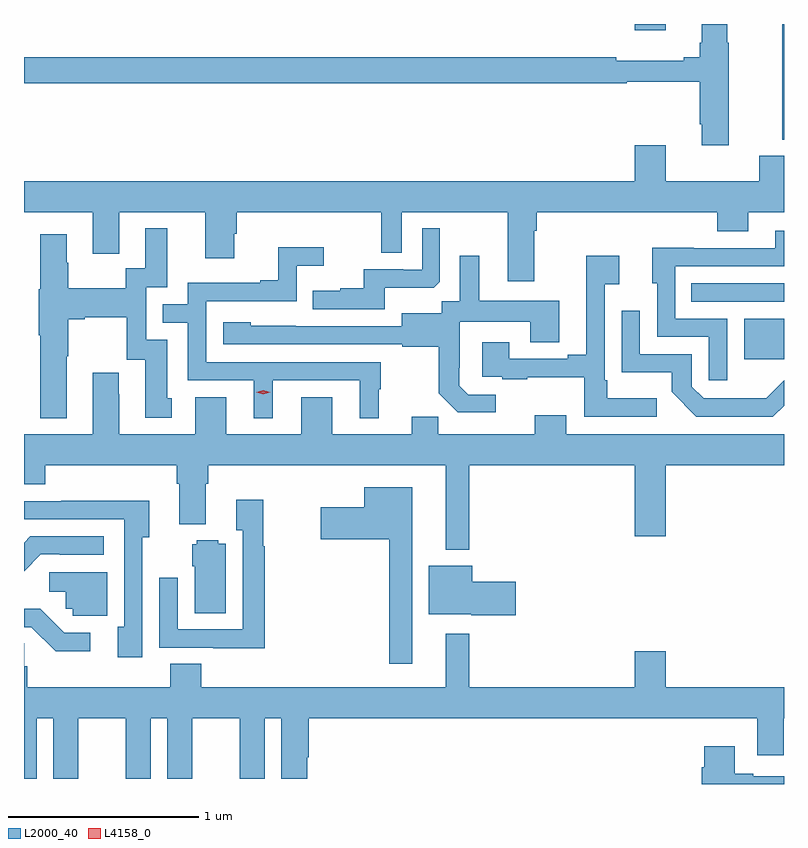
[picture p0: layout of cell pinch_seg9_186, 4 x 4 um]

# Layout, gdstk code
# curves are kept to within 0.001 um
import gdstk
lib = gdstk.Library(unit=1e-6, precision=1e-09)
def R(c, l, rs):  # rectangles x0, y0, x1, y1
    for r in rs: c.add(gdstk.rectangle(r[:2], r[2:], *l))
def P(c, l, *ps):  # polygons
    for p in ps: c.add(gdstk.Polygon(p, *l))
L2000_40 = (2000, 40)
L4158_0 = (4158, 0)

pinch_seg9_186 = lib.new_cell('pinch_seg9_186')
R(pinch_seg9_186, L2000_40, [(633.116,1231.61,633.326,1231.825), (632.839,1231.914,633.326,1232.01), (633.318,1232.766,633.326,1233.375), (632.54,1233.342,632.704,1233.375)])
P(pinch_seg9_186, L2000_40, [(633.036,1233.277),(633.028,1233.277),(633.028,1233.375),(632.894,1233.375),(632.894,1233.277),(632.882,1233.277),(632.882,1233.2),(632.798,1233.2),(632.798,1233.181),(632.444,1233.181),(632.444,1233.2),(629.326,1233.2),(629.326,1233.064),(632.498,1233.064),(632.498,1233.072),(632.882,1233.072),(632.882,1232.848),(632.894,1232.848),(632.894,1232.736),(633.036,1232.736)],
  [(632.011,1232.288),(632.024,1232.288),(632.024,1232.384),(632.975,1232.384),(632.975,1232.285),(633.139,1232.285),(633.139,1232.384),(633.326,1232.384),(633.326,1232.681),(633.196,1232.681),(633.196,1232.548),(632.704,1232.548),(632.704,1232.737),(632.54,1232.737),(632.54,1232.548),(629.326,1232.548),(629.326,1232.384),(629.687,1232.384),(629.687,1232.166),(629.827,1232.166),(629.827,1232.384),(630.281,1232.384),(630.281,1232.142),(630.433,1232.142),(630.433,1232.271),(630.446,1232.271),(630.446,1232.384),(631.206,1232.384),(631.206,1232.17),(631.314,1232.17),(631.314,1232.384),(631.871,1232.384),(631.871,1232.022),(632.011,1232.022)],
  [(631.225,1231.988),(631.483,1231.988),(631.515,1232.019),(631.515,1232.299),(631.422,1232.299),(631.422,1232.082),(631.322,1232.082),(631.322,1232.085),(631.115,1232.085),(631.115,1231.984),(630.991,1231.984),(630.991,1231.972),(630.847,1231.972),(630.847,1231.875),(631.225,1231.875)],
  [(629.551,1231.627),(629.559,1231.627),(629.559,1231.82),(629.647,1231.82),(629.647,1231.832),(629.867,1231.832),(629.867,1231.608),(629.963,1231.608),(629.963,1231.302),(630.103,1231.302),(630.103,1231.404),(630.079,1231.404),(630.079,1231.713),(629.97,1231.713),(629.97,1231.989),(630.079,1231.989),(630.079,1232.299),(629.963,1232.299),(629.963,1232.09),(629.862,1232.09),(629.862,1231.984),(629.559,1231.984),(629.559,1232.118),(629.551,1232.118),(629.551,1232.269),(629.411,1232.269),(629.411,1231.98),(629.404,1231.98),(629.404,1231.736),(629.411,1231.736),(629.411,1231.301),(629.551,1231.301)],
  [(633.027,1231.824),(632.754,1231.824),(632.754,1232.1),(633.326,1232.1),(633.326,1232.287),(633.281,1232.287),(633.281,1232.196),(632.851,1232.196),(632.851,1232.198),(632.633,1232.198),(632.633,1232.01),(632.658,1232.01),(632.658,1231.728),(632.931,1231.728),(632.931,1231.5),(633.027,1231.5)],
  [(630.634,1231.5),(631.094,1231.5),(631.094,1231.301),(631.192,1231.301),(631.192,1231.452),(631.204,1231.452),(631.204,1231.596),(630.285,1231.596),(630.285,1231.917),(630.762,1231.917),(630.762,1232.102),(630.904,1232.102),(630.904,1232.201),(630.664,1232.201),(630.664,1232.026),(630.569,1232.026),(630.569,1232.013),(630.189,1232.013),(630.189,1231.899),(630.055,1231.899),(630.055,1231.803),(630.189,1231.803),(630.189,1231.5),(630.536,1231.5),(630.536,1231.301),(630.634,1231.301)],
  [(631.81,1231.425),(631.665,1231.425),(631.618,1231.472),(631.618,1231.567),(631.62,1231.567),(631.62,1231.808),(631.991,1231.808),(631.991,1231.699),(632.143,1231.699),(632.143,1231.918),(631.723,1231.918),(631.723,1232.155),(631.619,1232.155),(631.619,1231.916),(631.524,1231.916),(631.524,1231.852),(631.313,1231.852),(631.313,1231.785),(630.519,1231.786),(630.519,1231.804),(630.375,1231.804),(630.375,1231.689),(631.317,1231.689),(631.317,1231.677),(631.509,1231.677),(631.509,1231.431),(631.609,1231.331),(631.81,1231.331)],
  [(632.656,1231.405),(632.395,1231.405),(632.395,1231.501),(632.382,1231.501),(632.382,1232.006),(632.458,1232.006),(632.458,1232.155),(632.285,1232.155),(632.285,1231.633),(632.189,1231.633),(632.189,1231.614),(631.879,1231.614),(631.879,1231.699),(631.739,1231.699),(631.739,1231.518),(631.843,1231.518),(631.843,1231.506),(631.975,1231.506),(631.975,1231.517),(632.274,1231.517),(632.274,1231.308),(632.656,1231.308)],
  [(633.326,1231.367),(633.326,1231.499),(633.233,1231.406),(633.128,1231.406),(633.128,1231.404),(632.904,1231.404),(632.841,1231.467),(632.841,1231.638),(632.568,1231.638),(632.568,1231.867),(632.472,1231.867),(632.472,1231.541),(632.734,1231.541),(632.734,1231.439),(632.864,1231.308),(633.267,1231.308)],
  [(629.824,1231.427),(629.824,1231.54),(629.687,1231.54),(629.687,1231.216),(629.326,1231.216),(629.326,1230.953),(629.438,1230.953),(629.438,1231.052),(630.131,1231.052),(630.131,1230.956),(630.143,1230.956),(630.143,1230.743),(630.283,1230.743),(630.283,1230.956),(630.296,1230.956),(630.296,1231.052),(631.547,1231.052),(631.547,1230.608),(631.669,1230.608),(631.669,1231.052),(632.54,1231.052),(632.54,1230.678),(632.704,1230.678),(632.704,1231.052),(633.326,1231.052),(633.326,1231.216),(632.179,1231.216),(632.179,1231.315),(632.015,1231.315),(632.015,1231.216),(631.505,1231.216),(631.505,1231.307),(631.367,1231.307),(631.367,1231.216),(630.949,1231.216),(630.949,1231.411),(630.785,1231.411),(630.785,1231.216),(630.391,1231.216),(630.391,1231.411),(630.227,1231.411),(630.227,1231.216),(629.827,1231.216),(629.827,1231.427)],
  [(631.369,1230.937),(631.118,1230.937),(631.118,1230.832),(630.888,1230.832),(630.888,1230.662),(631.248,1230.662),(631.248,1230.009),(631.369,1230.009)],
  [(630.593,1230.626),(630.586,1230.626),(630.586,1230.871),(630.443,1230.871),(630.443,1230.71),(630.477,1230.71),(630.477,1230.189),(630.135,1230.189),(630.135,1230.46),(630.039,1230.46),(630.039,1230.093),(630.323,1230.093),(630.323,1230.089),(630.593,1230.089)],
  [(629.949,1230.674),(629.986,1230.674),(629.986,1230.866),(629.521,1230.866),(629.521,1230.864),(629.326,1230.864),(629.326,1230.768),(629.853,1230.768),(629.853,1230.202),(629.819,1230.202),(629.819,1230.042),(629.949,1230.042)],
  [(629.415,1230.585),(629.515,1230.585),(629.515,1230.582),(629.746,1230.582),(629.746,1230.678),(629.36,1230.678),(629.326,1230.644),(629.326,1230.496)],
  [(630.388,1230.64),(630.348,1230.64),(630.348,1230.658),(630.234,1230.658),(630.234,1230.636),(630.212,1230.636),(630.212,1230.522),(630.224,1230.522),(630.224,1230.274),(630.388,1230.274)],
  [(631.915,1230.44),(631.684,1230.44),(631.684,1230.523),(631.457,1230.523),(631.457,1230.269),(631.68,1230.269),(631.68,1230.262),(631.915,1230.262)],
  [(629.764,1230.489),(629.46,1230.489),(629.46,1230.386),(629.547,1230.386),(629.547,1230.297),(629.583,1230.297),(629.583,1230.261),(629.764,1230.261)],
  [(629.674,1230.171),(629.538,1230.171),(629.411,1230.298),(629.326,1230.298),(629.326,1230.201),(629.364,1230.201),(629.492,1230.074),(629.674,1230.074)],
  [(629.326,1230.116),(629.326,1229.403),(629.392,1229.403),(629.392,1229.72),(629.48,1229.72),(629.48,1229.403),(629.611,1229.403),(629.611,1229.72),(629.861,1229.72),(629.861,1229.403),(629.992,1229.403),(629.992,1229.72),(630.08,1229.72),(630.08,1229.403),(630.211,1229.403),(630.211,1229.72),(630.461,1229.72),(630.461,1229.403),(630.592,1229.403),(630.592,1229.72),(630.68,1229.72),(630.68,1229.403),(630.817,1229.403),(630.817,1229.515),(630.824,1229.515),(630.824,1229.72),(633.185,1229.72),(633.185,1229.526),(633.325,1229.526),(633.325,1229.72),(633.326,1229.72),(633.326,1229.884),(632.704,1229.884),(632.704,1230.073),(632.54,1230.073),(632.54,1229.884),(631.669,1229.884),(631.669,1230.166),(631.547,1230.166),(631.547,1229.884),(630.26,1229.884),(630.26,1230.008),(630.095,1230.008),(630.095,1229.884),(629.342,1229.884),(629.342,1229.994),(629.327,1229.994),(629.327,1230.116)],
  [(633.326,1229.415),(633.163,1229.415),(633.163,1229.428),(633.067,1229.428),(633.067,1229.575),(632.906,1229.575),(632.906,1229.462),(632.894,1229.462),(632.894,1229.375),(633.326,1229.375)])
P(pinch_seg9_186, L4158_0, [(630.585,1231.427),(630.549,1231.437),(630.549,1231.437),(630.549,1231.438),(630.585,1231.447),(630.621,1231.438),(630.621,1231.437),(630.621,1231.437)])

lib.write_gds('pinch_seg9_186.gds')
